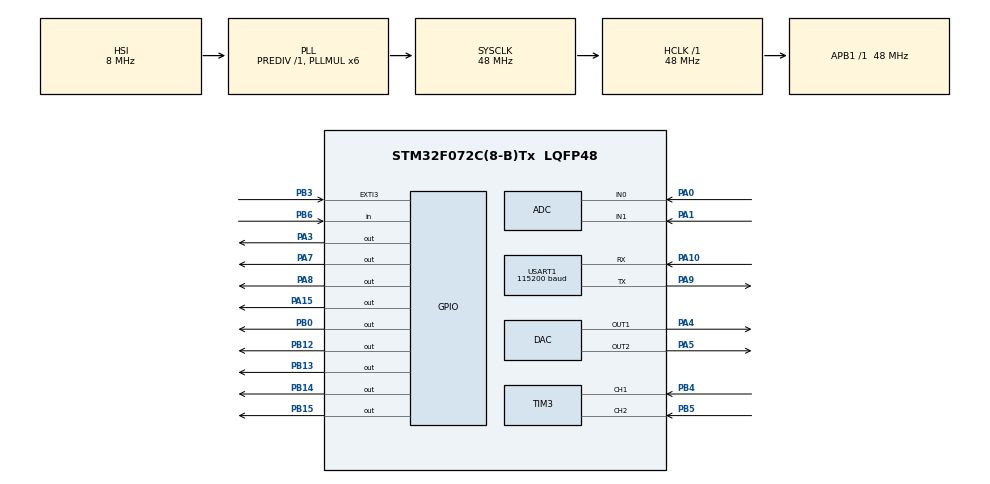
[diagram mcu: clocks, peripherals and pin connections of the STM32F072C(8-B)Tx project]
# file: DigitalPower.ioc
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Mcu.Family=STM32F0
Mcu.Name=STM32F072C(8-B)Tx
Mcu.Package=LQFP48
NVIC.EXTI2_3_IRQn=true\:0\:0\:false\:true\:true\:2\:true\:true
NVIC.RTC_IRQn=true\:0\:0\:false\:true\:true\:3\:true\:true
NVIC.TIM2_IRQn=true\:0\:0\:false\:true\:true\:1\:true\:true
NVIC.TIM3_IRQn=true\:0\:0\:false\:true\:true\:4\:true\:true
PA0.Mode=IN0
PA0.Signal=ADC_IN0
PA1.Mode=IN1
PA1.Signal=ADC_IN1
PA10.Mode=Asynchronous
PA10.Signal=USART1_RX
PA15.Signal=GPIO_Output
PA3.Signal=GPIO_Output
PA4.Signal=COMP_DAC1_group
PA5.Signal=COMP_DAC2_group
PA7.Signal=GPIO_Output
PA8.Signal=GPIO_Output
PA9.Mode=Asynchronous
PA9.Signal=USART1_TX
PB0.Signal=GPIO_Output
PB12.Signal=GPIO_Output
PB13.Signal=GPIO_Output
PB14.Signal=GPIO_Output
PB15.Signal=GPIO_Output
PB3.Signal=GPXTI3
PB4.Signal=S_TIM3_CH1
PB5.Signal=S_TIM3_CH2
PB6.Signal=GPIO_Input
ProjectManager.HeapSize=0x200
ProjectManager.StackSize=0x400
ProjectManager.TargetToolchain=Makefile
RCC.AHBFreq_Value=48000000
RCC.APB1Freq_Value=48000000
RCC.APB1TimFreq_Value=48000000
RCC.HCLKFreq_Value=48000000
RCC.PLLMUL=RCC_PLL_MUL6
RCC.SYSCLKFreq_VALUE=48000000
RCC.SYSCLKSource=RCC_SYSCLKSOURCE_PLLCLK
RTC.Alarm-Alarm\ A=RTC_ALARM_A
RTC.AlarmMaskDateWeekDay-Alarm\ A=RTC_ALARMMASK_DATEWEEKDAY
RTC.AlarmMaskHours-Alarm\ A=RTC_ALARMMASK_HOURS
RTC.AlarmMaskMinutes-Alarm\ A=RTC_ALARMMASK_MINUTES
RTC.AlarmMaskSeconds-Alarm\ A=RTC_ALARMMASK_SECONDS
RTC.AsynchPrediv=99
RTC.SynchPrediv=399
SH.COMP_DAC1_group.0=DAC_OUT1,DAC_OUT1
SH.COMP_DAC2_group.0=DAC_OUT2,DAC_OUT2
SH.S_TIM3_CH1.0=TIM3_CH1,Input_Capture1_from_TI1
SH.S_TIM3_CH2.0=TIM3_CH2,Input_Capture2_from_TI2
TIM2.AutoReloadPreload=TIM_AUTORELOAD_PRELOAD_ENABLE
TIM2.ClockDivision=TIM_CLOCKDIVISION_DIV1
TIM2.Period=100-1
TIM2.Prescaler=48000-1
TIM3.Channel-Input_Capture1_from_TI1=TIM_CHANNEL_1
TIM3.Channel-Input_Capture2_from_TI2=TIM_CHANNEL_2
USART1.BaudRate=115200
USART1.VirtualMode-Asynchronous=VM_ASYNC
VP_RTC_VS_RTC_Activate.Mode=RTC_Enabled
VP_RTC_VS_RTC_Alarm_A_Intern.Mode=Alarm A
VP_RTC_VS_RTC_Calendar.Mode=RTC_Calendar
VP_TIM2_VS_ClockSourceINT.Mode=Internal
board=custom

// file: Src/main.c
/* USER CODE BEGIN Header */
/**
  ******************************************************************************
  * @file           : main.c
  * @brief          : Main program body
  ******************************************************************************
  ** This notice applies to any and all portions of this file
  * that are not between comment pairs USER CODE BEGIN and
  * USER CODE END. Other portions of this file, whether
  * inserted by the user or by software development tools
  * are owned by their respective copyright owners.
  *
  * COPYRIGHT(c) 2019 STMicroelectronics
  *
  * Redistribution and use in source and binary forms, with or without modification,
  * are permitted provided that the following conditions are met:
  *   1. Redistributions of source code must retain the above copyright notice,
  *      this list of conditions and the following disclaimer.
  *   2. Redistributions in binary form must reproduce the above copyright notice,
  *      this list of conditions and the following disclaimer in the documentation
  *      and/or other materials provided with the distribution.
  *   3. Neither the name of STMicroelectronics nor the names of its contributors
  *      may be used to endorse or promote products derived from this software
  *      without specific prior written permission.
  *
  * THIS SOFTWARE IS PROVIDED BY THE COPYRIGHT HOLDERS AND CONTRIBUTORS "AS IS"
  * AND ANY EXPRESS OR IMPLIED WARRANTIES, INCLUDING, BUT NOT LIMITED TO, THE
  * IMPLIED WARRANTIES OF MERCHANTABILITY AND FITNESS FOR A PARTICULAR PURPOSE ARE
  * DISCLAIMED. IN NO EVENT SHALL THE COPYRIGHT HOLDER OR CONTRIBUTORS BE LIABLE
  * FOR ANY DIRECT, INDIRECT, INCIDENTAL, SPECIAL, EXEMPLARY, OR CONSEQUENTIAL
  * DAMAGES (INCLUDING, BUT NOT LIMITED TO, PROCUREMENT OF SUBSTITUTE GOODS OR
  * SERVICES; LOSS OF USE, DATA, OR PROFITS; OR BUSINESS INTERRUPTION) HOWEVER
  * CAUSED AND ON ANY THEORY OF LIABILITY, WHETHER IN CONTRACT, STRICT LIABILITY,
  * OR TORT (INCLUDING NEGLIGENCE OR OTHERWISE) ARISING IN ANY WAY OUT OF THE USE
  * OF THIS SOFTWARE, EVEN IF ADVISED OF THE POSSIBILITY OF SUCH DAMAGE.
  *
  ******************************************************************************
  */
/* USER CODE END Header */

#include "main.h"

/* USER CODE BEGIN Includes */
#include "UI/lv_font.h"
#include "UI/lv_conf.h"

#include "oled.h"
#include "menu.h"

/* USER CODE END Includes */

ADC_HandleTypeDef hadc;

DAC_HandleTypeDef hdac;

RTC_HandleTypeDef hrtc;

TIM_HandleTypeDef htim2;
TIM_HandleTypeDef htim3;

UART_HandleTypeDef huart1;

/* USER CODE BEGIN PV */
TIM_HandleTypeDef hTimEncoder;

char welcomeBrief[] = "System start\r\n";
int VSetDacValue = 0;
int ISetDacValue = 0;
int EncodeCount = 0;

SystemInfo_t g_SystemInfo;

/* USER CODE END PV */

void SystemClock_Config(void);
static void MX_GPIO_Init(void);
static void MX_ADC_Init(void);
static void MX_DAC_Init(void);
static void MX_USART1_UART_Init(void);
static void MX_TIM3_Init(void);
static void MX_TIM2_Init(void);
static void MX_RTC_Init(void);
static void MX_NVIC_Init(void);
/* USER CODE BEGIN PFP */
void EncoderInit(void);
void HAL_TIM_Encoder_MspInit(TIM_HandleTypeDef *htim);

/* USER CODE END PFP */

/* USER CODE BEGIN 0 */
int DacConvert(int VSetmV)
{
  return (VSetmV*4095/3300);
}

int fputc(int ch, FILE* stream)
{
    //USART_SendData(USART1, (unsigned char) ch);
    //while (!(USART1->SR & USART_FLAG_TXE));
    //USART_SendChar(USART1, (uint8_t)ch);
    HAL_UART_Transmit(&huart1, (uint8_t *)&ch, 1, 100);
    return ch;
}
int _write(int fd, char *ptr, int len)
{
    /*
     * write "len" of char from "ptr" to file id "fd"
     * Return number of char written.
     *
    * Only work for STDOUT, STDIN, and STDERR
     */
    if (fd > 2)
    {
        return -1;
    }

    HAL_UART_Transmit(&huart1, (uint8_t *)ptr, len, 100);

    return len;
}

void HAL_TIM_IC_CaptureCallback(TIM_HandleTypeDef *htim)
{
  static uint16_t lastEncodeCount;
  int step;
  MenuEvnet_t event = MENU_EVENT_BTN_UP;
    EncodeCount = __HAL_TIM_GET_COUNTER(&hTimEncoder);
    DEBUG("EncodeCount %d\r\n", EncodeCount);
    if(lastEncodeCount!=EncodeCount)
    {
      if(EncodeCount>lastEncodeCount)
      {
        if((EncodeCount-lastEncodeCount)>1000)
        {
          step = lastEncodeCount;
          step+=0xFFFF;
          step -= EncodeCount;
          event = MENU_EVENT_BTN_UP;
        }
        else
        {
          step = EncodeCount-lastEncodeCount;
          event = MENU_EVENT_BTN_DOWN;
        }
      }
      else
      {
        if((lastEncodeCount - EncodeCount)>1000)
        {
          step = EncodeCount;
          step+=0xFFFF;
          step -= lastEncodeCount;
          event = MENU_EVENT_BTN_DOWN;
        }
        else
        {
          step = lastEncodeCount - EncodeCount;
          event = MENU_EVENT_BTN_UP;
        }
      }
      if(step>=4)
      {
        lastEncodeCount = EncodeCount;
        DEBUG("BTN event %d, step %d\r\n", event, step);
        menuCallback(event);
      }
    }

}

void HAL_GPIO_EXTI_Callback(uint16_t GPIO_Pin)
{
  if (GPIO_Pin == GPIO_PIN_3)
  {
    DEBUG("EncodeButton click\r\n");
    menuCallback(MENU_EVENT_BTN_SELECT);
  }
}

void HAL_RTC_AlarmAEventCallback(RTC_HandleTypeDef * hrtc)
{
  static int i=0;
  // if (hrtc == &hrtc)
  if(i)
  {
    HAL_GPIO_WritePin(GPIOA, GPIO_PIN_7, GPIO_PIN_RESET);
    i=0;
  }
  else
  {
    HAL_GPIO_WritePin(GPIOA, GPIO_PIN_7, GPIO_PIN_SET);
    i=1;
  }
  {
    // DEBUG("rtc alarm\r\n");
  }
}

void HAL_TIM_OC_DelayElapsedCallback(TIM_HandleTypeDef * htim)
{
  // if (htim == &htim2)
  {
    DEBUG("HAL_TIM_OC_DelayElapsed event\r\n");
  }
}

void HAL_TIM_PeriodElapsedCallback(TIM_HandleTypeDef *htim)
{
    // static int i=0;
  if (htim == &htim2)
  {
    // if(i)
    // {
    //   HAL_GPIO_WritePin(GPIOA, GPIO_PIN_7, GPIO_PIN_RESET);
    //   i=0;
    // }
    // else
    // {
    //   HAL_GPIO_WritePin(GPIOA, GPIO_PIN_7, GPIO_PIN_SET);
    //   i=1;
    // }

    //DEBUG("HAL_TIM_PeriodElapsed event\r\n");
    menuCallback(MENU_EVENT_100MS);
  }
}
// void GUIInit(void)
// {
//   xg_widget_t* Panel = xg_widget_new(E_XG_WIDGET_TYPE_PANEL);
//   xg_widget_t* HeadLable = xg_widget_new(E_XG_WIDGET_TYPE_LABLE);

//   xg_widget_lable_init(HeadLable, 0, 0, "V=1.23V", &lv_font_yahei_16);
//   xg_widget_lable_add(Panel, HeadLable);
//   xg_widget_refresh(Panel);
// }

/* USER CODE END 0 */

int main(void)
{

  /* MCU Configuration--------------------------------------------------------*/

  /* Reset of all peripherals, Initializes the Flash interface and the Systick. */
  HAL_Init();

  /* Configure the system clock */
  SystemClock_Config();

  /* Initialize all configured peripherals */
  MX_GPIO_Init();
  MX_ADC_Init();
  MX_DAC_Init();
  MX_USART1_UART_Init();
  MX_TIM3_Init();
  MX_TIM2_Init();
  MX_RTC_Init();

  /* Initialize interrupts */
  MX_NVIC_Init();
  /* USER CODE BEGIN 2 */
  EncoderInit();
  HAL_TIM_Encoder_MspInit(&hTimEncoder);

  OLED_Init();
  HAL_TIM_Base_Start_IT(&htim2);

 // HAL_UART_Transmit(&huart1, welcomeBrief, strlen(welcomeBrief), 100);

  //OledDrawText();
  // OledDrawText(&lv_font_yahei_16, 0, 0, "V=10.25V");
  // OledDrawText(&lv_font_yahei_16, 64, 0, "I=0.12A");

//  OledDrawText(&lv_font_yahei_20, 20, 42, "");
  DEBUG("System init done\r\n");

  g_SystemInfo.Version = 101;
  g_SystemInfo.SetVoltage = 330;//3.3V
  g_SystemInfo.SetCurrent = 50;//500mA
  g_SystemInfo.RtVoltage = 100;
  g_SystemInfo.RtCurrent = 50;
  g_SystemInfo.VoltageMax = 3000;
  g_SystemInfo.VoltageMin = 125;
  menuInit();

  /* USER CODE END 2 */

  /* Infinite loop */
  while (1)
  {

    /* USER CODE BEGIN 3 */
	  HAL_DAC_SetValue(&hdac, DAC_CHANNEL_1, DAC_ALIGN_12B_R, DacConvert(VSetDacValue));
    HAL_DAC_SetValue(&hdac, DAC_CHANNEL_2, DAC_ALIGN_12B_R, DacConvert(ISetDacValue));

    HAL_DAC_Start(&hdac, DAC_CHANNEL_1);
    HAL_DAC_Start(&hdac, DAC_CHANNEL_2);
    VSetDacValue+=200;
    VSetDacValue%=3300;
    ISetDacValue+=400;
    ISetDacValue%=3300;

    // EncodeCount = __HAL_TIM_GET_COUNTER(&hTimEncoder);
    // printf("EncodeCount %d\r\n", EncodeCount);

    // HAL_GPIO_WritePin(GPIOA, GPIO_PIN_7, GPIO_PIN_SET);
    HAL_Delay(1000);
    // HAL_GPIO_WritePin(GPIOA, GPIO_PIN_7, GPIO_PIN_RESET);
    HAL_Delay(1000);

  }
  /* USER CODE END 3 */
}

void SystemClock_Config(void)
{
  RCC_OscInitTypeDef RCC_OscInitStruct = {0};
  RCC_ClkInitTypeDef RCC_ClkInitStruct = {0};
  RCC_PeriphCLKInitTypeDef PeriphClkInit = {0};

  /**Initializes the CPU, AHB and APB busses clocks
  */
  RCC_OscInitStruct.OscillatorType = RCC_OSCILLATORTYPE_HSI|RCC_OSCILLATORTYPE_HSI14
                              |RCC_OSCILLATORTYPE_LSI;
  RCC_OscInitStruct.HSIState = RCC_HSI_ON;
  RCC_OscInitStruct.HSI14State = RCC_HSI14_ON;
  RCC_OscInitStruct.HSICalibrationValue = RCC_HSICALIBRATION_DEFAULT;
  RCC_OscInitStruct.HSI14CalibrationValue = 16;
  RCC_OscInitStruct.LSIState = RCC_LSI_ON;
  RCC_OscInitStruct.PLL.PLLState = RCC_PLL_ON;
  RCC_OscInitStruct.PLL.PLLSource = RCC_PLLSOURCE_HSI;
  RCC_OscInitStruct.PLL.PLLMUL = RCC_PLL_MUL6;
  RCC_OscInitStruct.PLL.PREDIV = RCC_PREDIV_DIV1;
  if (HAL_RCC_OscConfig(&RCC_OscInitStruct) != HAL_OK)
  {
    Error_Handler();
  }
  /**Initializes the CPU, AHB and APB busses clocks
  */
  RCC_ClkInitStruct.ClockType = RCC_CLOCKTYPE_HCLK|RCC_CLOCKTYPE_SYSCLK
                              |RCC_CLOCKTYPE_PCLK1;
  RCC_ClkInitStruct.SYSCLKSource = RCC_SYSCLKSOURCE_PLLCLK;
  RCC_ClkInitStruct.AHBCLKDivider = RCC_SYSCLK_DIV1;
  RCC_ClkInitStruct.APB1CLKDivider = RCC_HCLK_DIV1;

  if (HAL_RCC_ClockConfig(&RCC_ClkInitStruct, FLASH_LATENCY_1) != HAL_OK)
  {
    Error_Handler();
  }
  PeriphClkInit.PeriphClockSelection = RCC_PERIPHCLK_USART1|RCC_PERIPHCLK_RTC;
  PeriphClkInit.Usart1ClockSelection = RCC_USART1CLKSOURCE_PCLK1;
  PeriphClkInit.RTCClockSelection = RCC_RTCCLKSOURCE_LSI;
  if (HAL_RCCEx_PeriphCLKConfig(&PeriphClkInit) != HAL_OK)
  {
    Error_Handler();
  }
}

/**
  * @brief NVIC Configuration.
  * @retval None
  */
static void MX_NVIC_Init(void)
{
  /* TIM2_IRQn interrupt configuration */
  HAL_NVIC_SetPriority(TIM2_IRQn, 0, 0);
  HAL_NVIC_EnableIRQ(TIM2_IRQn);
  /* EXTI2_3_IRQn interrupt configuration */
  HAL_NVIC_SetPriority(EXTI2_3_IRQn, 0, 0);
  HAL_NVIC_EnableIRQ(EXTI2_3_IRQn);
  /* RTC_IRQn interrupt configuration */
  HAL_NVIC_SetPriority(RTC_IRQn, 0, 0);
  HAL_NVIC_EnableIRQ(RTC_IRQn);
  /* TIM3_IRQn interrupt configuration */
  HAL_NVIC_SetPriority(TIM3_IRQn, 0, 0);
  HAL_NVIC_EnableIRQ(TIM3_IRQn);
}

static void MX_ADC_Init(void)
{

  ADC_ChannelConfTypeDef sConfig = {0};

  /**Configure the global features of the ADC (Clock, Resolution, Data Alignment and number of conversion)
  */
  hadc.Instance = ADC1;
  hadc.Init.ClockPrescaler = ADC_CLOCK_ASYNC_DIV1;
  hadc.Init.Resolution = ADC_RESOLUTION_12B;
  hadc.Init.DataAlign = ADC_DATAALIGN_RIGHT;
  hadc.Init.ScanConvMode = ADC_SCAN_DIRECTION_FORWARD;
  hadc.Init.EOCSelection = ADC_EOC_SINGLE_CONV;
  hadc.Init.LowPowerAutoWait = DISABLE;
  hadc.Init.LowPowerAutoPowerOff = DISABLE;
  hadc.Init.ContinuousConvMode = DISABLE;
  hadc.Init.DiscontinuousConvMode = DISABLE;
  hadc.Init.ExternalTrigConv = ADC_SOFTWARE_START;
  hadc.Init.ExternalTrigConvEdge = ADC_EXTERNALTRIGCONVEDGE_NONE;
  hadc.Init.DMAContinuousRequests = DISABLE;
  hadc.Init.Overrun = ADC_OVR_DATA_PRESERVED;
  if (HAL_ADC_Init(&hadc) != HAL_OK)
  {
    Error_Handler();
  }
  /**Configure for the selected ADC regular channel to be converted.
  */
  sConfig.Channel = ADC_CHANNEL_0;
  sConfig.Rank = ADC_RANK_CHANNEL_NUMBER;
  sConfig.SamplingTime = ADC_SAMPLETIME_1CYCLE_5;
  if (HAL_ADC_ConfigChannel(&hadc, &sConfig) != HAL_OK)
  {
    Error_Handler();
  }
  /**Configure for the selected ADC regular channel to be converted.
  */
  sConfig.Channel = ADC_CHANNEL_1;
  if (HAL_ADC_ConfigChannel(&hadc, &sConfig) != HAL_OK)
  {
    Error_Handler();
  }

}

static void MX_DAC_Init(void)
{

  DAC_ChannelConfTypeDef sConfig = {0};

  /**DAC Initialization
  */
  hdac.Instance = DAC;
  if (HAL_DAC_Init(&hdac) != HAL_OK)
  {
    Error_Handler();
  }
  /**DAC channel OUT1 config
  */
  sConfig.DAC_Trigger = DAC_TRIGGER_NONE;
  sConfig.DAC_OutputBuffer = DAC_OUTPUTBUFFER_ENABLE;
  if (HAL_DAC_ConfigChannel(&hdac, &sConfig, DAC_CHANNEL_1) != HAL_OK)
  {
    Error_Handler();
  }
  /**DAC channel OUT2 config
  */
  if (HAL_DAC_ConfigChannel(&hdac, &sConfig, DAC_CHANNEL_2) != HAL_OK)
  {
    Error_Handler();
  }

}

static void MX_RTC_Init(void)
{

  RTC_TimeTypeDef sTime = {0};
  RTC_DateTypeDef sDate = {0};
  RTC_AlarmTypeDef sAlarm = {0};

  /**Initialize RTC Only
  */
  hrtc.Instance = RTC;
  hrtc.Init.HourFormat = RTC_HOURFORMAT_24;
  hrtc.Init.AsynchPrediv = 99;
  hrtc.Init.SynchPrediv = 399;
  hrtc.Init.OutPut = RTC_OUTPUT_DISABLE;
  hrtc.Init.OutPutPolarity = RTC_OUTPUT_POLARITY_HIGH;
  hrtc.Init.OutPutType = RTC_OUTPUT_TYPE_OPENDRAIN;
  if (HAL_RTC_Init(&hrtc) != HAL_OK)
  {
    Error_Handler();
  }

  /**Initialize RTC and set the Time and Date
  */
  sTime.Hours = 0x0;
  sTime.Minutes = 0x0;
  sTime.Seconds = 0x0;
  sTime.DayLightSaving = RTC_DAYLIGHTSAVING_NONE;
  sTime.StoreOperation = RTC_STOREOPERATION_RESET;
  if (HAL_RTC_SetTime(&hrtc, &sTime, RTC_FORMAT_BCD) != HAL_OK)
  {
    Error_Handler();
  }
  sDate.WeekDay = RTC_WEEKDAY_MONDAY;
  sDate.Month = RTC_MONTH_JANUARY;
  sDate.Date = 0x1;
  sDate.Year = 0x0;

  if (HAL_RTC_SetDate(&hrtc, &sDate, RTC_FORMAT_BCD) != HAL_OK)
  {
    Error_Handler();
  }
  /**Enable the Alarm A
  */
  sAlarm.AlarmTime.Hours = 0x0;
  sAlarm.AlarmTime.Minutes = 0x0;
  sAlarm.AlarmTime.Seconds = 0x0;
  sAlarm.AlarmTime.SubSeconds = 0x0;
  sAlarm.AlarmTime.DayLightSaving = RTC_DAYLIGHTSAVING_NONE;
  sAlarm.AlarmTime.StoreOperation = RTC_STOREOPERATION_RESET;
  sAlarm.AlarmMask = RTC_ALARMMASK_ALL;
  sAlarm.AlarmSubSecondMask = RTC_ALARMSUBSECONDMASK_ALL;
  sAlarm.AlarmDateWeekDaySel = RTC_ALARMDATEWEEKDAYSEL_DATE;
  sAlarm.AlarmDateWeekDay = 0x1;
  sAlarm.Alarm = RTC_ALARM_A;
  if (HAL_RTC_SetAlarm_IT(&hrtc, &sAlarm, RTC_FORMAT_BCD) != HAL_OK)
  {
    Error_Handler();
  }

}

static void MX_TIM2_Init(void)
{

  TIM_ClockConfigTypeDef sClockSourceConfig = {0};
  TIM_MasterConfigTypeDef sMasterConfig = {0};

  htim2.Instance = TIM2;
  htim2.Init.Prescaler = 48000-1;
  htim2.Init.CounterMode = TIM_COUNTERMODE_UP;
  htim2.Init.Period = 100-1;
  htim2.Init.ClockDivision = TIM_CLOCKDIVISION_DIV1;
  htim2.Init.AutoReloadPreload = TIM_AUTORELOAD_PRELOAD_ENABLE;
  if (HAL_TIM_Base_Init(&htim2) != HAL_OK)
  {
    Error_Handler();
  }
  sClockSourceConfig.ClockSource = TIM_CLOCKSOURCE_INTERNAL;
  if (HAL_TIM_ConfigClockSource(&htim2, &sClockSourceConfig) != HAL_OK)
  {
    Error_Handler();
  }
  sMasterConfig.MasterOutputTrigger = TIM_TRGO_RESET;
  sMasterConfig.MasterSlaveMode = TIM_MASTERSLAVEMODE_DISABLE;
  if (HAL_TIMEx_MasterConfigSynchronization(&htim2, &sMasterConfig) != HAL_OK)
  {
    Error_Handler();
  }

}

static void MX_TIM3_Init(void)
{

  TIM_MasterConfigTypeDef sMasterConfig = {0};
  TIM_IC_InitTypeDef sConfigIC = {0};

  htim3.Instance = TIM3;
  htim3.Init.Prescaler = 0;
  htim3.Init.CounterMode = TIM_COUNTERMODE_UP;
  htim3.Init.Period = 0;
  htim3.Init.ClockDivision = TIM_CLOCKDIVISION_DIV1;
  htim3.Init.AutoReloadPreload = TIM_AUTORELOAD_PRELOAD_DISABLE;
  if (HAL_TIM_IC_Init(&htim3) != HAL_OK)
  {
    Error_Handler();
  }
  sMasterConfig.MasterOutputTrigger = TIM_TRGO_RESET;
  sMasterConfig.MasterSlaveMode = TIM_MASTERSLAVEMODE_DISABLE;
  if (HAL_TIMEx_MasterConfigSynchronization(&htim3, &sMasterConfig) != HAL_OK)
  {
    Error_Handler();
  }
  sConfigIC.ICPolarity = TIM_INPUTCHANNELPOLARITY_RISING;
  sConfigIC.ICSelection = TIM_ICSELECTION_DIRECTTI;
  sConfigIC.ICPrescaler = TIM_ICPSC_DIV1;
  sConfigIC.ICFilter = 0;
  if (HAL_TIM_IC_ConfigChannel(&htim3, &sConfigIC, TIM_CHANNEL_1) != HAL_OK)
  {
    Error_Handler();
  }
  if (HAL_TIM_IC_ConfigChannel(&htim3, &sConfigIC, TIM_CHANNEL_2) != HAL_OK)
  {
    Error_Handler();
  }

}

static void MX_USART1_UART_Init(void)
{

  huart1.Instance = USART1;
  huart1.Init.BaudRate = 115200;
  huart1.Init.WordLength = UART_WORDLENGTH_8B;
  huart1.Init.StopBits = UART_STOPBITS_1;
  huart1.Init.Parity = UART_PARITY_NONE;
  huart1.Init.Mode = UART_MODE_TX_RX;
  huart1.Init.HwFlowCtl = UART_HWCONTROL_NONE;
  huart1.Init.OverSampling = UART_OVERSAMPLING_16;
  huart1.Init.OneBitSampling = UART_ONE_BIT_SAMPLE_DISABLE;
  huart1.AdvancedInit.AdvFeatureInit = UART_ADVFEATURE_NO_INIT;
  if (HAL_UART_Init(&huart1) != HAL_OK)
  {
    Error_Handler();
  }

}

static void MX_GPIO_Init(void)
{
  GPIO_InitTypeDef GPIO_InitStruct = {0};

  /* GPIO Ports Clock Enable */
  __HAL_RCC_GPIOA_CLK_ENABLE();
  __HAL_RCC_GPIOB_CLK_ENABLE();

  /*Configure GPIO pin Output Level */
  HAL_GPIO_WritePin(GPIOA, GPIO_PIN_3|GPIO_PIN_7|GPIO_PIN_8|GPIO_PIN_15, GPIO_PIN_RESET);

  /*Configure GPIO pin Output Level */
  HAL_GPIO_WritePin(GPIOB, GPIO_PIN_0|GPIO_PIN_12|GPIO_PIN_13|GPIO_PIN_14
                          |GPIO_PIN_15, GPIO_PIN_RESET);

  /*Configure GPIO pins : PA3 PA7 PA8 PA15 */
  GPIO_InitStruct.Pin = GPIO_PIN_3|GPIO_PIN_7|GPIO_PIN_8|GPIO_PIN_15;
  GPIO_InitStruct.Mode = GPIO_MODE_OUTPUT_PP;
  GPIO_InitStruct.Pull = GPIO_NOPULL;
  GPIO_InitStruct.Speed = GPIO_SPEED_FREQ_LOW;
  HAL_GPIO_Init(GPIOA, &GPIO_InitStruct);

  /*Configure GPIO pins : PB0 PB12 PB13 PB14
                           PB15 */
  GPIO_InitStruct.Pin = GPIO_PIN_0|GPIO_PIN_12|GPIO_PIN_13|GPIO_PIN_14
                          |GPIO_PIN_15;
  GPIO_InitStruct.Mode = GPIO_MODE_OUTPUT_PP;
  GPIO_InitStruct.Pull = GPIO_NOPULL;
  GPIO_InitStruct.Speed = GPIO_SPEED_FREQ_LOW;
  HAL_GPIO_Init(GPIOB, &GPIO_InitStruct);

  /*Configure GPIO pin : PB3 */
  GPIO_InitStruct.Pin = GPIO_PIN_3;
  GPIO_InitStruct.Mode = GPIO_MODE_IT_RISING;
  GPIO_InitStruct.Pull = GPIO_NOPULL;
  HAL_GPIO_Init(GPIOB, &GPIO_InitStruct);

  /*Configure GPIO pin : PB6 */
  GPIO_InitStruct.Pin = GPIO_PIN_6;
  GPIO_InitStruct.Mode = GPIO_MODE_INPUT;
  GPIO_InitStruct.Pull = GPIO_NOPULL;
  HAL_GPIO_Init(GPIOB, &GPIO_InitStruct);

}

/* USER CODE BEGIN 4 */

void EncoderInit(void)
{
	TIM_Encoder_InitTypeDef hEncoder;
	TIM_MasterConfigTypeDef sMasterConfig;

	hTimEncoder.Instance = TIM3;
	hTimEncoder.Init.Prescaler = 0;
	hTimEncoder.Init.CounterMode = TIM_COUNTERMODE_UP;
	hTimEncoder.Init.Period = 0xFFFF;
	hTimEncoder.Init.ClockDivision = TIM_CLOCKDIVISION_DIV1;

	hEncoder.EncoderMode = TIM_ENCODERMODE_TI12;
	hEncoder.IC1Polarity = TIM_ICPOLARITY_RISING;
	hEncoder.IC1Selection = TIM_ICSELECTION_DIRECTTI;
	hEncoder.IC1Prescaler = TIM_ICPSC_DIV1;
	hEncoder.IC1Filter = 0;
	hEncoder.IC2Polarity = TIM_ICPOLARITY_RISING;
	hEncoder.IC2Selection = TIM_ICSELECTION_DIRECTTI;
	hEncoder.IC2Prescaler = TIM_ICPSC_DIV1;
	hEncoder.IC2Filter = 0;

	HAL_TIM_Encoder_Init(&hTimEncoder,&hEncoder);

	sMasterConfig.MasterOutputTrigger = TIM_TRGO_RESET;
  sMasterConfig.MasterSlaveMode = TIM_MASTERSLAVEMODE_DISABLE;
  HAL_TIMEx_MasterConfigSynchronization(&hTimEncoder, &sMasterConfig);

//	HAL_TIM_Encoder_Start(&hTimEncoder,TIM_CHANNEL_ALL);
  HAL_TIM_Encoder_Start_IT(&hTimEncoder, TIM_CHANNEL_ALL);

}

void HAL_TIM_Encoder_MspInit(TIM_HandleTypeDef *htim)
{
	if(htim->Instance==TIM3)
	{
		GPIO_InitTypeDef GPIO_Initure;
		__HAL_RCC_GPIOA_CLK_ENABLE();//ʹ��TIM3ʱ��
		__HAL_RCC_TIM3_CLK_ENABLE();//����GPIOAʱ��

		GPIO_Initure.Pin=GPIO_PIN_4|GPIO_PIN_4;
		GPIO_Initure.Mode=GPIO_MODE_AF_OD;     //����
		GPIO_Initure.Pull=GPIO_NOPULL;          //��������
		GPIO_Initure.Alternate=GPIO_AF1_TIM3;
		HAL_GPIO_Init(GPIOB,&GPIO_Initure);
	}
}

/* USER CODE END 4 */

void Error_Handler(void)
{
}

/************************ (C) COPYRIGHT STMicroelectronics *****END OF FILE****/
